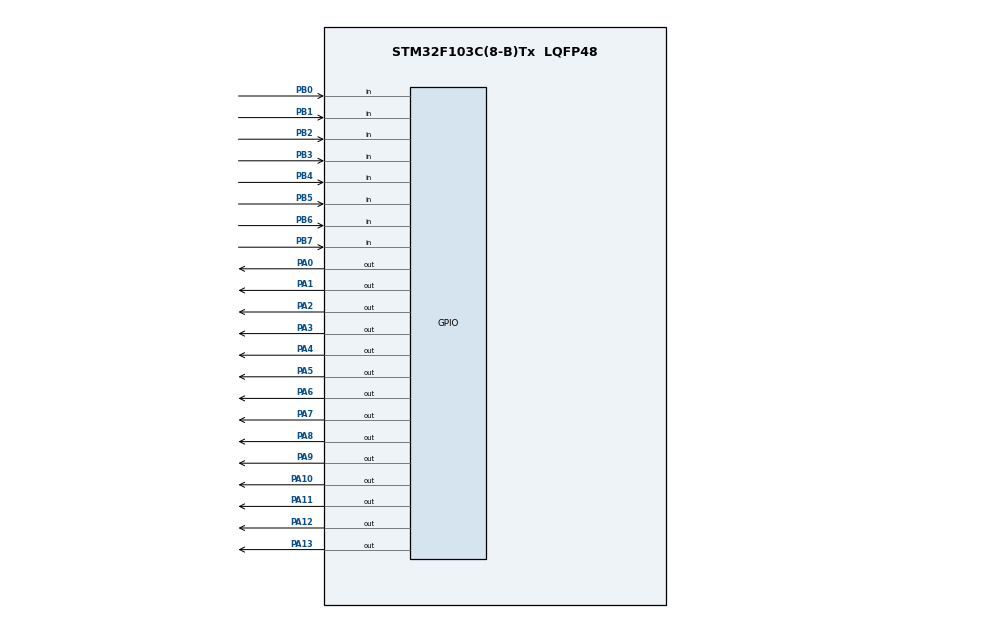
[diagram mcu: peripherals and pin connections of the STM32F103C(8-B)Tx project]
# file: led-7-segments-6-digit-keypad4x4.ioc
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Mcu.Family=STM32F1
Mcu.Name=STM32F103C(8-B)Tx
Mcu.Package=LQFP48
NVIC.PriorityGroup=NVIC_PRIORITYGROUP_4
PA0-WKUP.Signal=GPIO_Output
PA1.Signal=GPIO_Output
PA10.Signal=GPIO_Output
PA11.Signal=GPIO_Output
PA12.Signal=GPIO_Output
PA13.Signal=GPIO_Output
PA2.Signal=GPIO_Output
PA3.Signal=GPIO_Output
PA4.Signal=GPIO_Output
PA5.Signal=GPIO_Output
PA6.Signal=GPIO_Output
PA7.Signal=GPIO_Output
PA8.Signal=GPIO_Output
PA9.Signal=GPIO_Output
PB0.GPIO_Mode=GPIO_MODE_INPUT
PB0.GPIO_PuPd=GPIO_PULLUP
PB0.Signal=GPIO_Input
PB1.GPIO_Mode=GPIO_MODE_INPUT
PB1.GPIO_PuPd=GPIO_PULLUP
PB1.Signal=GPIO_Input
PB2.GPIO_Mode=GPIO_MODE_INPUT
PB2.GPIO_PuPd=GPIO_PULLUP
PB2.Signal=GPIO_Input
PB3.GPIO_Mode=GPIO_MODE_INPUT
PB3.GPIO_PuPd=GPIO_PULLUP
PB3.Signal=GPIO_Input
PB4.GPIO_Mode=GPIO_MODE_INPUT
PB4.GPIO_PuPd=GPIO_PULLUP
PB4.Signal=GPIO_Input
PB5.GPIO_Mode=GPIO_MODE_INPUT
PB5.GPIO_PuPd=GPIO_PULLUP
PB5.Signal=GPIO_Input
PB6.GPIO_Mode=GPIO_MODE_INPUT
PB6.GPIO_PuPd=GPIO_PULLUP
PB6.Signal=GPIO_Input
PB7.GPIO_Mode=GPIO_MODE_INPUT
PB7.GPIO_PuPd=GPIO_PULLUP
PB7.Signal=GPIO_Input
ProjectManager.HeapSize=0x200
ProjectManager.StackSize=0x400
ProjectManager.TargetToolchain=STM32CubeIDE
RCC.APB1Freq_Value=8000000
RCC.APB2Freq_Value=8000000
board=custom

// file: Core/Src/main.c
/* USER CODE BEGIN Header */
/**
  ******************************************************************************
  * @file           : main.c
  * @brief          : Main program body
  ******************************************************************************
  * @attention
  *
  * Copyright (c) 2024 STMicroelectronics.
  * All rights reserved.
  *
  * This software is licensed under terms that can be found in the LICENSE file
  * in the root directory of this software component.
  * If no LICENSE file comes with this software, it is provided AS-IS.
  *
  ******************************************************************************
  */
/* USER CODE END Header */
#include "main.h"

/* USER CODE BEGIN Includes */
#include "port.h"
#include "keypad.h"
/* USER CODE END Includes */

/* USER CODE BEGIN PV */
int ANODE7SEGMAP[16] = {
	0x00C0,
	0x00F9,
	0x00A4,
	0x00B0,
	0x0099,
	0x0092,
	0x0082,
	0x008F,
	0x0080,
	0x0090,
	0x0088,
	0x0083,
	0x00C6,
	0x00A1,
	0x0086,
	0x008E
};
/* USER CODE END PV */

void SystemClock_Config(void);
static void MX_GPIO_Init(void);

int main(void)
{

  /* MCU Configuration--------------------------------------------------------*/

  /* Reset of all peripherals, Initializes the Flash interface and the Systick. */
  HAL_Init();

  /* Configure the system clock */
  SystemClock_Config();

  /* Initialize all configured peripherals */
  MX_GPIO_Init();

  /* Infinite loop */
  while (1)
  {

    /* USER CODE BEGIN 3 */
	  int key = Read_Keypad();
	  LED7SEG_PORT->IDR = ANODE7SEGMAP[key] | LED7SEG_DIGIT_1;
	  LED7SEG_PORT->IDR = ANODE7SEGMAP[key] | LED7SEG_DIGIT_2;
	  LED7SEG_PORT->IDR = ANODE7SEGMAP[key] | LED7SEG_DIGIT_4;
	  LED7SEG_PORT->IDR = ANODE7SEGMAP[key] | LED7SEG_DIGIT_4;
	  LED7SEG_PORT->IDR = ANODE7SEGMAP[key] | LED7SEG_DIGIT_5;
	  LED7SEG_PORT->IDR = ANODE7SEGMAP[key] | LED7SEG_DIGIT_6;
  }
  /* USER CODE END 3 */
}

void SystemClock_Config(void)
{
  RCC_OscInitTypeDef RCC_OscInitStruct = {0};
  RCC_ClkInitTypeDef RCC_ClkInitStruct = {0};

  /** Initializes the RCC Oscillators according to the specified parameters
  * in the RCC_OscInitTypeDef structure.
  */
  RCC_OscInitStruct.OscillatorType = RCC_OSCILLATORTYPE_HSI;
  RCC_OscInitStruct.HSIState = RCC_HSI_ON;
  RCC_OscInitStruct.HSICalibrationValue = RCC_HSICALIBRATION_DEFAULT;
  RCC_OscInitStruct.PLL.PLLState = RCC_PLL_NONE;
  if (HAL_RCC_OscConfig(&RCC_OscInitStruct) != HAL_OK)
  {
    Error_Handler();
  }

  /** Initializes the CPU, AHB and APB buses clocks
  */
  RCC_ClkInitStruct.ClockType = RCC_CLOCKTYPE_HCLK|RCC_CLOCKTYPE_SYSCLK
                              |RCC_CLOCKTYPE_PCLK1|RCC_CLOCKTYPE_PCLK2;
  RCC_ClkInitStruct.SYSCLKSource = RCC_SYSCLKSOURCE_HSI;
  RCC_ClkInitStruct.AHBCLKDivider = RCC_SYSCLK_DIV1;
  RCC_ClkInitStruct.APB1CLKDivider = RCC_HCLK_DIV1;
  RCC_ClkInitStruct.APB2CLKDivider = RCC_HCLK_DIV1;

  if (HAL_RCC_ClockConfig(&RCC_ClkInitStruct, FLASH_LATENCY_0) != HAL_OK)
  {
    Error_Handler();
  }
}

static void MX_GPIO_Init(void)
{
  GPIO_InitTypeDef GPIO_InitStruct = {0};

  /* GPIO Ports Clock Enable */
  __HAL_RCC_GPIOA_CLK_ENABLE();
  __HAL_RCC_GPIOB_CLK_ENABLE();

  /*Configure GPIO pin Output Level */
  HAL_GPIO_WritePin(GPIOA, GPIO_PIN_0|GPIO_PIN_1|GPIO_PIN_2|GPIO_PIN_3
                          |GPIO_PIN_4|GPIO_PIN_5|GPIO_PIN_6|GPIO_PIN_7
                          |GPIO_PIN_8|GPIO_PIN_9|GPIO_PIN_10|GPIO_PIN_11
                          |GPIO_PIN_12|GPIO_PIN_13, GPIO_PIN_RESET);

  /*Configure GPIO pins : PA0 PA1 PA2 PA3
                           PA4 PA5 PA6 PA7
                           PA8 PA9 PA10 PA11
                           PA12 PA13 */
  GPIO_InitStruct.Pin = GPIO_PIN_0|GPIO_PIN_1|GPIO_PIN_2|GPIO_PIN_3
                          |GPIO_PIN_4|GPIO_PIN_5|GPIO_PIN_6|GPIO_PIN_7
                          |GPIO_PIN_8|GPIO_PIN_9|GPIO_PIN_10|GPIO_PIN_11
                          |GPIO_PIN_12|GPIO_PIN_13;
  GPIO_InitStruct.Mode = GPIO_MODE_OUTPUT_PP;
  GPIO_InitStruct.Pull = GPIO_NOPULL;
  GPIO_InitStruct.Speed = GPIO_SPEED_FREQ_LOW;
  HAL_GPIO_Init(GPIOA, &GPIO_InitStruct);

  /*Configure GPIO pins : PB0 PB1 PB2 PB3
                           PB4 PB5 PB6 PB7 */
  GPIO_InitStruct.Pin = GPIO_PIN_0|GPIO_PIN_1|GPIO_PIN_2|GPIO_PIN_3
                          |GPIO_PIN_4|GPIO_PIN_5|GPIO_PIN_6|GPIO_PIN_7;
  GPIO_InitStruct.Mode = GPIO_MODE_INPUT;
  GPIO_InitStruct.Pull = GPIO_PULLUP;
  HAL_GPIO_Init(GPIOB, &GPIO_InitStruct);

}

void Error_Handler(void)
{
  __disable_irq();
  while (1)
  {
  }
}
